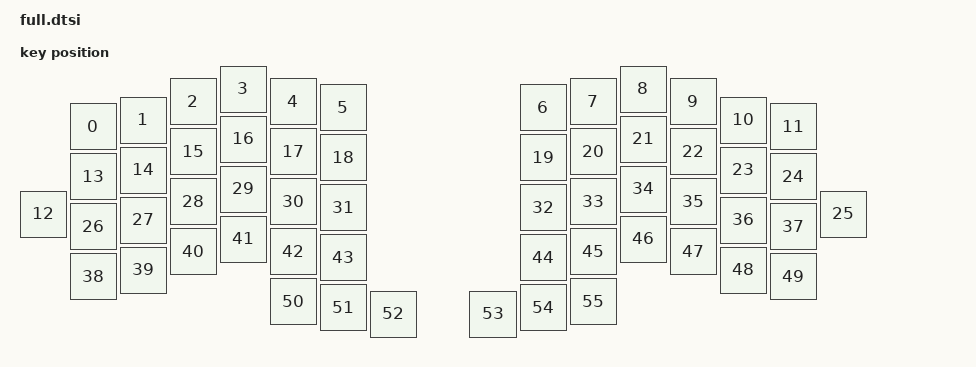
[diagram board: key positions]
#include <physical_layouts.dtsi>

#include "position_map.dtsi"

/ {
    ladniy_jiran_full_layout: ladniy_jiran_full_layout {
        compatible = "zmk,physical-layout";
        display-name = "Full (with pinky/numbers)";

        keys  //                     w   h    x    y     rot    rx    ry
            = <&key_physical_attrs 100 100  100   75       0     0     0>
            , <&key_physical_attrs 100 100  200   62       0     0     0>
            , <&key_physical_attrs 100 100  300   25       0     0     0>
            , <&key_physical_attrs 100 100  400    0       0     0     0>
            , <&key_physical_attrs 100 100  500   25       0     0     0>
            , <&key_physical_attrs 100 100  600   37       0     0     0>
            , <&key_physical_attrs 100 100 1000   37       0     0     0>
            , <&key_physical_attrs 100 100 1100   25       0     0     0>
            , <&key_physical_attrs 100 100 1200    0       0     0     0>
            , <&key_physical_attrs 100 100 1300   25       0     0     0>
            , <&key_physical_attrs 100 100 1400   62       0     0     0>
            , <&key_physical_attrs 100 100 1500   75       0     0     0>
            , <&key_physical_attrs 100 100    0  250       0     0     0>
            , <&key_physical_attrs 100 100  100  175       0     0     0>
            , <&key_physical_attrs 100 100  200  162       0     0     0>
            , <&key_physical_attrs 100 100  300  125       0     0     0>
            , <&key_physical_attrs 100 100  400  100       0     0     0>
            , <&key_physical_attrs 100 100  500  125       0     0     0>
            , <&key_physical_attrs 100 100  600  137       0     0     0>
            , <&key_physical_attrs 100 100 1000  137       0     0     0>
            , <&key_physical_attrs 100 100 1100  125       0     0     0>
            , <&key_physical_attrs 100 100 1200  100       0     0     0>
            , <&key_physical_attrs 100 100 1300  125       0     0     0>
            , <&key_physical_attrs 100 100 1400  162       0     0     0>
            , <&key_physical_attrs 100 100 1500  175       0     0     0>
            , <&key_physical_attrs 100 100 1600  250       0     0     0>
            , <&key_physical_attrs 100 100  100  275       0     0     0>
            , <&key_physical_attrs 100 100  200  262       0     0     0>
            , <&key_physical_attrs 100 100  300  225       0     0     0>
            , <&key_physical_attrs 100 100  400  200       0     0     0>
            , <&key_physical_attrs 100 100  500  225       0     0     0>
            , <&key_physical_attrs 100 100  600  237       0     0     0>
            , <&key_physical_attrs 100 100 1000  237       0     0     0>
            , <&key_physical_attrs 100 100 1100  225       0     0     0>
            , <&key_physical_attrs 100 100 1200  200       0     0     0>
            , <&key_physical_attrs 100 100 1300  225       0     0     0>
            , <&key_physical_attrs 100 100 1400  262       0     0     0>
            , <&key_physical_attrs 100 100 1500  275       0     0     0>
            , <&key_physical_attrs 100 100  100  375       0     0     0>
            , <&key_physical_attrs 100 100  200  362       0     0     0>
            , <&key_physical_attrs 100 100  300  325       0     0     0>
            , <&key_physical_attrs 100 100  400  300       0     0     0>
            , <&key_physical_attrs 100 100  500  325       0     0     0>
            , <&key_physical_attrs 100 100  600  337       0     0     0>
            , <&key_physical_attrs 100 100 1000  337       0     0     0>
            , <&key_physical_attrs 100 100 1100  325       0     0     0>
            , <&key_physical_attrs 100 100 1200  300       0     0     0>
            , <&key_physical_attrs 100 100 1300  325       0     0     0>
            , <&key_physical_attrs 100 100 1400  362       0     0     0>
            , <&key_physical_attrs 100 100 1500  375       0     0     0>
            , <&key_physical_attrs 100 100  500  425       0     0     0>
            , <&key_physical_attrs 100 100  600  437       0     0     0>
            , <&key_physical_attrs 100 100  700  450       0     0     0>
            , <&key_physical_attrs 100 100  900  450       0     0     0>
            , <&key_physical_attrs 100 100 1000  437       0     0     0>
            , <&key_physical_attrs 100 100 1100  425       0     0     0>
        ;
    };
};

&layouts_ladniy_jiran_position_map {
    ladniy_jiran_full_posmap: full {
        physical-layout = <&ladniy_jiran_full_layout>;
        positions
            = <    0  1  2  3  4  5        6  7  8  9 10 11   >
            , <12 13 14 15 16 17 18       19 20 21 22 23 24 25>
            , <   26 27 28 29 30 31       32 33 34 35 36 37   >
            , <   38 39 40 41 42 43       44 45 46 47 48 49   >
            , <               50 51 52 53 54 55               >;
    };
};
